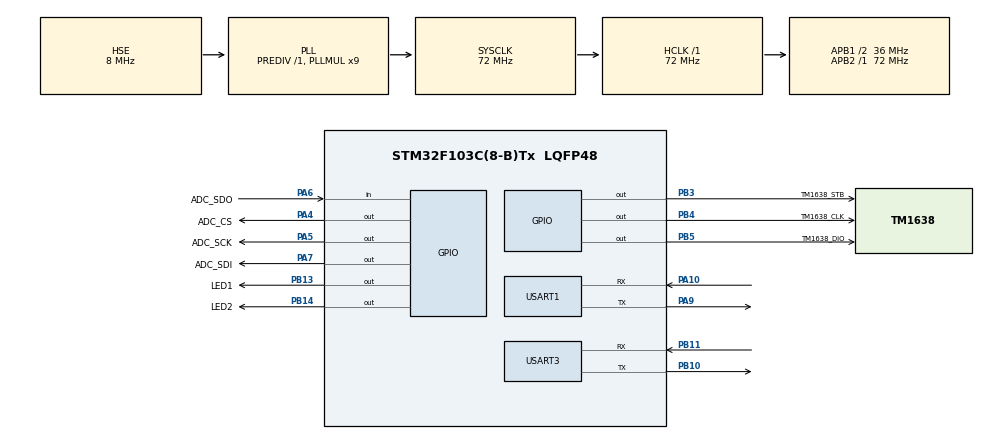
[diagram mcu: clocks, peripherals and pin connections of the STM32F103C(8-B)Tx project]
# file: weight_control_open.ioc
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Mcu.Family=STM32F1
Mcu.Name=STM32F103C(8-B)Tx
Mcu.Package=LQFP48
NVIC.PriorityGroup=NVIC_PRIORITYGROUP_4
NVIC.TIM2_IRQn=true\:2\:0\:true\:false\:true\:true\:true\:true
NVIC.TIM3_IRQn=true\:1\:0\:true\:false\:true\:true\:true\:true
NVIC.USART1_IRQn=true\:0\:0\:false\:false\:true\:true\:true\:true
NVIC.USART3_IRQn=true\:0\:0\:false\:false\:true\:true\:true\:true
PA10.Mode=Asynchronous
PA10.Signal=USART1_RX
PA13.Mode=Serial_Wire
PA13.Signal=SYS_JTMS-SWDIO
PA14.Mode=Serial_Wire
PA14.Signal=SYS_JTCK-SWCLK
PA4.GPIO_Label=ADC_CS
PA4.GPIO_Speed=GPIO_SPEED_FREQ_HIGH
PA4.PinState=GPIO_PIN_SET
PA4.Signal=GPIO_Output
PA5.GPIO_Label=ADC_SCK
PA5.GPIO_Speed=GPIO_SPEED_FREQ_HIGH
PA5.PinState=GPIO_PIN_SET
PA5.Signal=GPIO_Output
PA6.GPIO_Label=ADC_SDO
PA6.Signal=GPIO_Input
PA7.GPIO_Label=ADC_SDI
PA7.GPIO_Speed=GPIO_SPEED_FREQ_HIGH
PA7.PinState=GPIO_PIN_SET
PA7.Signal=GPIO_Output
PA9.Mode=Asynchronous
PA9.Signal=USART1_TX
PB10.Mode=Asynchronous
PB10.Signal=USART3_TX
PB11.Mode=Asynchronous
PB11.Signal=USART3_RX
PB13.GPIO_Label=LED1
PB13.Signal=GPIO_Output
PB14.GPIO_Label=LED2
PB14.Signal=GPIO_Output
PB3.GPIO_Label=TM1638_STB
PB3.Signal=GPIO_Output
PB4.GPIO_Label=TM1638_CLK
PB4.Signal=GPIO_Output
PB5.GPIO_Label=TM1638_DIO
PB5.Signal=GPIO_Output
PD0-OSC_IN.Mode=HSE-External-Oscillator
PD0-OSC_IN.Signal=RCC_OSC_IN
PD1-OSC_OUT.Mode=HSE-External-Oscillator
PD1-OSC_OUT.Signal=RCC_OSC_OUT
ProjectManager.HeapSize=0x200
ProjectManager.StackSize=0x400
ProjectManager.TargetToolchain=STM32CubeIDE
RCC.AHBFreq_Value=72000000
RCC.APB1CLKDivider=RCC_HCLK_DIV2
RCC.APB1Freq_Value=36000000
RCC.APB1TimFreq_Value=72000000
RCC.APB2Freq_Value=72000000
RCC.APB2TimFreq_Value=72000000
RCC.HCLKFreq_Value=72000000
RCC.PLLMUL=RCC_PLL_MUL9
RCC.PLLSourceVirtual=RCC_PLLSOURCE_HSE
RCC.SYSCLKFreq_VALUE=72000000
RCC.SYSCLKSource=RCC_SYSCLKSOURCE_PLLCLK
RCC.USBFreq_Value=72000000
TIM2.AutoReloadPreload=TIM_AUTORELOAD_PRELOAD_ENABLE
TIM2.Period=100-1
TIM2.Prescaler=72-1
TIM3.AutoReloadPreload=TIM_AUTORELOAD_PRELOAD_ENABLE
TIM3.Period=50000-1
TIM3.Prescaler=72-1
USART1.VirtualMode=VM_ASYNC
USART3.VirtualMode=VM_ASYNC
VP_TIM2_VS_ClockSourceINT.Mode=Internal
VP_TIM3_VS_ClockSourceINT.Mode=Internal
board=custom

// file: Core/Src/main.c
/* USER CODE BEGIN Header */
/**
  ******************************************************************************
  * @file           : main.c
  * @brief          : Main program body
  ******************************************************************************
  * @attention
  *
  * Copyright (c) 2024 STMicroelectronics.
  * All rights reserved.
  *
  * This software is licensed under terms that can be found in the LICENSE file
  * in the root directory of this software component.
  * If no LICENSE file comes with this software, it is provided AS-IS.
  *
  ******************************************************************************
  */
/* USER CODE END Header */
#include "main.h"
#include "tim.h"
#include "usart.h"
#include "gpio.h"

/* USER CODE BEGIN Includes */
#include "CS5530.h"
#include "user_uart.h"
#include "modbus.h"
/* USER CODE END Includes */

void SystemClock_Config(void);

/* USER CODE BEGIN 0 */
void HAL_TIM_PeriodElapsedCallback(TIM_HandleTypeDef *htim)
{
  if (htim->Instance == TIM3)
  {
	  ADC.sample_flag = 1;
	  ADC.time_tick++;
	  ADC.report_time_tick++;

	  if(ADC.report_time_tick>=1)
	  {
		  ADC.report_time_tick = 0;
	  }
	  if(ADC.time_tick>10)
	  {
		  ADC.time_tick = 0;
		  HAL_GPIO_TogglePin(LED1_GPIO_Port,LED1_Pin);
		  HAL_GPIO_TogglePin(LED2_GPIO_Port,LED2_Pin);
	  }
  }
  if (htim->Instance == TIM2)
  {
	  modbus_timeout();
  }

}
/* USER CODE END 0 */

int main(void)
{

  /* MCU Configuration--------------------------------------------------------*/

  /* Reset of all peripherals, Initializes the Flash interface and the Systick. */
  HAL_Init();

  /* Configure the system clock */
  SystemClock_Config();

  /* Initialize all configured peripherals */
  MX_GPIO_Init();
  MX_TIM2_Init();
  MX_USART1_UART_Init();
  MX_TIM3_Init();
  MX_USART3_UART_Init();
  /* USER CODE BEGIN 2 */
  HAL_Delay(500);//上电等待系统问稳定
  ADC_init();
  modbus_uart_init();
  modbus_init();
  /* USER CODE END 2 */

  /* Infinite loop */
  while (1)
  {

    /* USER CODE BEGIN 3 */
	  if(ADC.sample_flag==1)
	  {
		  ADC_read_value();
		  ADC.sample_flag = 0;
	  }
  }
  /* USER CODE END 3 */
}

void SystemClock_Config(void)
{
  RCC_OscInitTypeDef RCC_OscInitStruct = {0};
  RCC_ClkInitTypeDef RCC_ClkInitStruct = {0};

  /** Initializes the RCC Oscillators according to the specified parameters
  * in the RCC_OscInitTypeDef structure.
  */
  RCC_OscInitStruct.OscillatorType = RCC_OSCILLATORTYPE_HSE;
  RCC_OscInitStruct.HSEState = RCC_HSE_ON;
  RCC_OscInitStruct.HSEPredivValue = RCC_HSE_PREDIV_DIV1;
  RCC_OscInitStruct.HSIState = RCC_HSI_ON;
  RCC_OscInitStruct.PLL.PLLState = RCC_PLL_ON;
  RCC_OscInitStruct.PLL.PLLSource = RCC_PLLSOURCE_HSE;
  RCC_OscInitStruct.PLL.PLLMUL = RCC_PLL_MUL9;
  if (HAL_RCC_OscConfig(&RCC_OscInitStruct) != HAL_OK)
  {
    Error_Handler();
  }

  /** Initializes the CPU, AHB and APB buses clocks
  */
  RCC_ClkInitStruct.ClockType = RCC_CLOCKTYPE_HCLK|RCC_CLOCKTYPE_SYSCLK
                              |RCC_CLOCKTYPE_PCLK1|RCC_CLOCKTYPE_PCLK2;
  RCC_ClkInitStruct.SYSCLKSource = RCC_SYSCLKSOURCE_PLLCLK;
  RCC_ClkInitStruct.AHBCLKDivider = RCC_SYSCLK_DIV1;
  RCC_ClkInitStruct.APB1CLKDivider = RCC_HCLK_DIV2;
  RCC_ClkInitStruct.APB2CLKDivider = RCC_HCLK_DIV1;

  if (HAL_RCC_ClockConfig(&RCC_ClkInitStruct, FLASH_LATENCY_2) != HAL_OK)
  {
    Error_Handler();
  }
}

void Error_Handler(void)
{
  __disable_irq();
  while (1)
  {
  }
}
